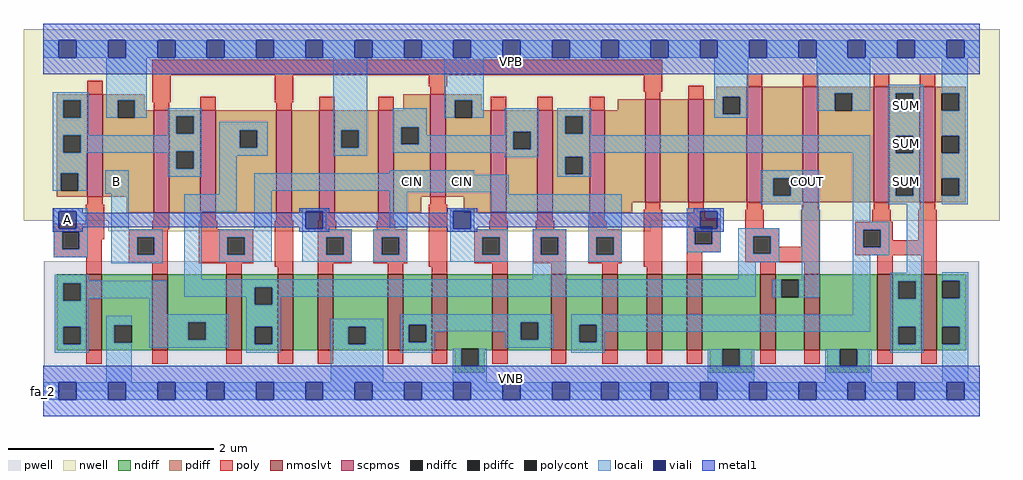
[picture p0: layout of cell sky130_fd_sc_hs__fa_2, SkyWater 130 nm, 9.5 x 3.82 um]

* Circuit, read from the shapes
.subckt sky130_fd_sc_hs__fa_2 A B CIN VGND VNB VPB VPWR COUT SUM
XM1 VGND A n1 VNB sky130_fd_pr__nfet_01v8_lvt w=0.74 l=0.15
XM2 n1 B VGND VNB sky130_fd_pr__nfet_01v8_lvt w=0.74 l=0.15
XM3 n2 CIN n1 VNB sky130_fd_pr__nfet_01v8_lvt w=0.74 l=0.15
XM4 n3 B n2 VNB sky130_fd_pr__nfet_01v8_lvt w=0.74 l=0.15
XM5 VGND A n3 VNB sky130_fd_pr__nfet_01v8_lvt w=0.74 l=0.15
XM6 n4 CIN VGND VNB sky130_fd_pr__nfet_01v8_lvt w=0.74 l=0.15
XM7 VGND B n4 VNB sky130_fd_pr__nfet_01v8_lvt w=0.74 l=0.15
XM8 n4 A VGND VNB sky130_fd_pr__nfet_01v8_lvt w=0.74 l=0.15
XM9 n5 n2 n4 VNB sky130_fd_pr__nfet_01v8_lvt w=0.74 l=0.15
XM10 n6 CIN n5 VNB sky130_fd_pr__nfet_01v8_lvt w=0.74 l=0.15
XM11 n7 B n6 VNB sky130_fd_pr__nfet_01v8_lvt w=0.74 l=0.15
XM12 VGND A n7 VNB sky130_fd_pr__nfet_01v8_lvt w=0.74 l=0.15
XM13 COUT n2 VGND VNB sky130_fd_pr__nfet_01v8_lvt w=0.74 l=0.15 m=2
XM14 SUM n5 VGND VNB sky130_fd_pr__nfet_01v8_lvt w=0.74 l=0.15 m=2
XM15 VPWR A n8 VPB sky130_fd_pr__pfet_01v8 w=1 l=0.15
XM16 n8 B VPWR VPB sky130_fd_pr__pfet_01v8 w=1 l=0.15
XM17 n2 CIN n8 VPB sky130_fd_pr__pfet_01v8 w=1 l=0.15
XM18 n9 B n2 VPB sky130_fd_pr__pfet_01v8 w=1 l=0.15
XM19 VPWR A n9 VPB sky130_fd_pr__pfet_01v8 w=1 l=0.15
XM20 n10 CIN VPWR VPB sky130_fd_pr__pfet_01v8 w=1 l=0.15
XM21 VPWR B n10 VPB sky130_fd_pr__pfet_01v8 w=1 l=0.15
XM22 n10 A VPWR VPB sky130_fd_pr__pfet_01v8 w=1 l=0.15
XM23 n5 n2 n10 VPB sky130_fd_pr__pfet_01v8 w=1 l=0.15
XM24 n11 CIN n5 VPB sky130_fd_pr__pfet_01v8 w=1 l=0.15
XM25 n12 B n11 VPB sky130_fd_pr__pfet_01v8 w=1 l=0.15
XM26 VPWR A n12 VPB sky130_fd_pr__pfet_01v8 w=1 l=0.15
XM27 COUT n2 VPWR VPB sky130_fd_pr__pfet_01v8 w=1.12 l=0.15 m=2
XM28 SUM n5 VPWR VPB sky130_fd_pr__pfet_01v8 w=1.12 l=0.15 m=2
.ends

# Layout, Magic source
magic
tech sky130A
magscale 1 2
<< nwell >>
rect -38 332 1862 704
rect 127 311 1183 332
<< pwell >>
rect 1 49 1823 253
rect 0 0 1824 49
<< scpmos >>
rect 86 378 116 578
rect 216 347 246 547
rect 306 347 336 547
rect 454 347 484 547
rect 538 347 568 547
rect 653 347 683 547
rect 754 378 784 578
rect 872 347 902 547
rect 962 347 992 547
rect 1064 347 1094 547
rect 1172 368 1202 568
rect 1256 368 1286 568
rect 1370 368 1400 592
rect 1479 368 1509 592
rect 1617 368 1647 592
rect 1707 368 1737 592
<< nmoslvt >>
rect 84 79 114 227
rect 213 79 243 227
rect 357 79 387 227
rect 457 79 487 227
rect 535 79 565 227
rect 671 79 701 227
rect 757 79 787 227
rect 875 79 905 227
rect 989 79 1019 227
rect 1089 79 1119 227
rect 1175 79 1205 227
rect 1253 79 1283 227
rect 1396 79 1426 227
rect 1482 79 1512 227
rect 1624 79 1654 227
rect 1710 79 1740 227
<< ndiff >>
rect 27 210 84 227
rect 27 176 39 210
rect 73 176 84 210
rect 27 125 84 176
rect 27 91 39 125
rect 73 91 84 125
rect 27 79 84 91
rect 114 128 213 227
rect 114 94 139 128
rect 173 94 213 128
rect 114 79 213 94
rect 243 134 357 227
rect 243 100 283 134
rect 317 100 357 134
rect 243 79 357 100
rect 387 202 457 227
rect 387 168 412 202
rect 446 168 457 202
rect 387 125 457 168
rect 387 91 412 125
rect 446 91 457 125
rect 387 79 457 91
rect 487 79 535 227
rect 565 125 671 227
rect 565 91 594 125
rect 628 91 671 125
rect 565 79 671 91
rect 701 129 757 227
rect 701 95 712 129
rect 746 95 757 129
rect 701 79 757 95
rect 787 82 875 227
rect 787 79 814 82
rect 802 48 814 79
rect 848 79 875 82
rect 905 134 989 227
rect 905 100 930 134
rect 964 100 989 134
rect 905 79 989 100
rect 1019 129 1089 227
rect 1019 95 1044 129
rect 1078 95 1089 129
rect 1019 79 1089 95
rect 1119 79 1175 227
rect 1205 79 1253 227
rect 1283 81 1396 227
rect 1283 79 1322 81
rect 848 48 860 79
rect 802 36 860 48
rect 1298 47 1322 79
rect 1356 79 1396 81
rect 1426 217 1482 227
rect 1426 183 1437 217
rect 1471 183 1482 217
rect 1426 79 1482 183
rect 1512 81 1624 227
rect 1512 79 1551 81
rect 1356 47 1381 79
rect 1298 36 1381 47
rect 1527 47 1551 79
rect 1585 79 1624 81
rect 1654 214 1710 227
rect 1654 180 1665 214
rect 1699 180 1710 214
rect 1654 125 1710 180
rect 1654 91 1665 125
rect 1699 91 1710 125
rect 1654 79 1710 91
rect 1740 215 1797 227
rect 1740 181 1751 215
rect 1785 181 1797 215
rect 1740 125 1797 181
rect 1740 91 1751 125
rect 1785 91 1797 125
rect 1740 79 1797 91
rect 1585 47 1609 79
rect 1527 36 1609 47
<< pdiff >>
rect 27 566 86 578
rect 27 532 39 566
rect 73 532 86 566
rect 27 498 86 532
rect 27 464 39 498
rect 73 464 86 498
rect 27 424 86 464
rect 27 390 35 424
rect 69 390 86 424
rect 27 378 86 390
rect 116 566 198 578
rect 116 532 145 566
rect 179 547 198 566
rect 701 547 754 578
rect 179 532 216 547
rect 116 378 216 532
rect 163 347 216 378
rect 246 535 306 547
rect 246 501 259 535
rect 293 501 306 535
rect 246 467 306 501
rect 246 433 259 467
rect 293 433 306 467
rect 246 347 306 433
rect 336 508 454 547
rect 336 474 383 508
rect 417 474 454 508
rect 336 347 454 474
rect 484 347 538 547
rect 568 508 653 547
rect 568 474 581 508
rect 615 474 653 508
rect 568 347 653 474
rect 683 514 754 547
rect 683 480 697 514
rect 731 480 754 514
rect 683 378 754 480
rect 784 566 854 578
rect 784 532 802 566
rect 836 547 854 566
rect 1311 573 1370 592
rect 1311 568 1323 573
rect 1119 547 1172 568
rect 836 532 872 547
rect 784 378 872 532
rect 683 347 736 378
rect 819 347 872 378
rect 902 505 962 547
rect 902 471 915 505
rect 949 471 962 505
rect 902 347 962 471
rect 992 535 1064 547
rect 992 501 1017 535
rect 1051 501 1064 535
rect 992 456 1064 501
rect 992 422 1017 456
rect 1051 422 1064 456
rect 992 347 1064 422
rect 1094 368 1172 547
rect 1202 368 1256 568
rect 1286 539 1323 568
rect 1357 539 1370 573
rect 1286 368 1370 539
rect 1400 414 1479 592
rect 1400 380 1422 414
rect 1456 380 1479 414
rect 1400 368 1479 380
rect 1509 580 1617 592
rect 1509 546 1541 580
rect 1575 546 1617 580
rect 1509 368 1617 546
rect 1647 580 1707 592
rect 1647 546 1660 580
rect 1694 546 1707 580
rect 1647 497 1707 546
rect 1647 463 1660 497
rect 1694 463 1707 497
rect 1647 414 1707 463
rect 1647 380 1660 414
rect 1694 380 1707 414
rect 1647 368 1707 380
rect 1737 580 1796 592
rect 1737 546 1750 580
rect 1784 546 1796 580
rect 1737 497 1796 546
rect 1737 463 1750 497
rect 1784 463 1796 497
rect 1737 414 1796 463
rect 1737 380 1750 414
rect 1784 380 1796 414
rect 1737 368 1796 380
rect 1094 347 1147 368
<< ndiffc >>
rect 39 176 73 210
rect 39 91 73 125
rect 139 94 173 128
rect 283 100 317 134
rect 412 168 446 202
rect 412 91 446 125
rect 594 91 628 125
rect 712 95 746 129
rect 814 48 848 82
rect 930 100 964 134
rect 1044 95 1078 129
rect 1322 47 1356 81
rect 1437 183 1471 217
rect 1551 47 1585 81
rect 1665 180 1699 214
rect 1665 91 1699 125
rect 1751 181 1785 215
rect 1751 91 1785 125
<< pdiffc >>
rect 39 532 73 566
rect 39 464 73 498
rect 35 390 69 424
rect 145 532 179 566
rect 259 501 293 535
rect 259 433 293 467
rect 383 474 417 508
rect 581 474 615 508
rect 697 480 731 514
rect 802 532 836 566
rect 915 471 949 505
rect 1017 501 1051 535
rect 1017 422 1051 456
rect 1323 539 1357 573
rect 1422 380 1456 414
rect 1541 546 1575 580
rect 1660 546 1694 580
rect 1660 463 1694 497
rect 1660 380 1694 414
rect 1750 546 1784 580
rect 1750 463 1784 497
rect 1750 380 1784 414
<< poly >>
rect 213 615 1205 645
rect 86 578 116 604
rect 213 562 249 615
rect 216 547 246 562
rect 306 547 336 573
rect 451 562 487 615
rect 751 593 787 615
rect 754 578 784 593
rect 1169 583 1205 615
rect 454 547 484 562
rect 538 547 568 573
rect 653 547 683 573
rect 86 363 116 378
rect 83 326 119 363
rect 872 547 902 573
rect 962 547 992 573
rect 1064 547 1094 573
rect 1172 568 1202 583
rect 1256 568 1286 594
rect 1370 592 1400 618
rect 1479 592 1509 618
rect 1617 592 1647 618
rect 1707 592 1737 618
rect 754 363 784 378
rect 216 332 246 347
rect 306 332 336 347
rect 454 332 484 347
rect 538 332 568 347
rect 653 332 683 347
rect 21 310 119 326
rect 213 315 246 332
rect 303 315 339 332
rect 21 276 37 310
rect 71 296 119 310
rect 167 299 243 315
rect 71 276 114 296
rect 21 260 114 276
rect 84 227 114 260
rect 167 265 183 299
rect 217 265 243 299
rect 167 249 243 265
rect 303 299 409 315
rect 303 265 359 299
rect 393 265 409 299
rect 303 249 409 265
rect 213 227 243 249
rect 357 227 387 249
rect 451 242 487 332
rect 457 227 487 242
rect 535 315 571 332
rect 650 315 686 332
rect 535 299 601 315
rect 535 265 551 299
rect 585 265 601 299
rect 535 249 601 265
rect 643 299 709 315
rect 643 265 659 299
rect 693 265 709 299
rect 643 249 709 265
rect 535 227 565 249
rect 671 227 701 249
rect 751 242 787 363
rect 1172 353 1202 368
rect 1256 353 1286 368
rect 1370 353 1400 368
rect 1479 353 1509 368
rect 1617 353 1647 368
rect 1707 353 1737 368
rect 872 332 902 347
rect 962 332 992 347
rect 1064 332 1094 347
rect 869 315 905 332
rect 959 315 995 332
rect 1061 315 1097 332
rect 839 299 905 315
rect 839 265 855 299
rect 889 265 905 299
rect 839 249 905 265
rect 953 299 1019 315
rect 953 265 969 299
rect 1003 265 1019 299
rect 953 249 1019 265
rect 1061 299 1127 315
rect 1061 265 1077 299
rect 1111 265 1127 299
rect 1061 249 1127 265
rect 757 227 787 242
rect 875 227 905 249
rect 989 227 1019 249
rect 1089 227 1119 249
rect 1169 242 1205 353
rect 1175 227 1205 242
rect 1253 336 1289 353
rect 1253 320 1319 336
rect 1253 286 1269 320
rect 1303 286 1319 320
rect 1253 270 1319 286
rect 1367 317 1403 353
rect 1367 301 1433 317
rect 1253 227 1283 270
rect 1367 267 1383 301
rect 1417 281 1433 301
rect 1476 281 1512 353
rect 1614 330 1650 353
rect 1417 267 1512 281
rect 1367 251 1512 267
rect 1581 314 1654 330
rect 1581 280 1597 314
rect 1631 294 1654 314
rect 1704 294 1740 353
rect 1631 280 1740 294
rect 1581 264 1740 280
rect 1396 227 1426 251
rect 1482 227 1512 251
rect 1624 227 1654 264
rect 1710 227 1740 264
rect 84 53 114 79
rect 213 53 243 79
rect 357 53 387 79
rect 457 53 487 79
rect 535 53 565 79
rect 671 53 701 79
rect 757 53 787 79
rect 875 53 905 79
rect 989 53 1019 79
rect 1089 53 1119 79
rect 1175 53 1205 79
rect 1253 53 1283 79
rect 1396 53 1426 79
rect 1482 53 1512 79
rect 1624 53 1654 79
rect 1710 53 1740 79
<< polycont >>
rect 37 276 71 310
rect 183 265 217 299
rect 359 265 393 299
rect 551 265 585 299
rect 659 265 693 299
rect 855 265 889 299
rect 969 265 1003 299
rect 1077 265 1111 299
rect 1269 286 1303 320
rect 1383 267 1417 301
rect 1597 280 1631 314
<< locali >>
rect 0 649 31 683
rect 65 649 127 683
rect 161 649 223 683
rect 257 649 319 683
rect 353 649 415 683
rect 449 649 511 683
rect 545 649 607 683
rect 641 649 703 683
rect 737 649 799 683
rect 833 649 895 683
rect 929 649 991 683
rect 1025 649 1087 683
rect 1121 649 1183 683
rect 1217 649 1279 683
rect 1313 649 1375 683
rect 1409 649 1471 683
rect 1505 649 1567 683
rect 1601 649 1663 683
rect 1697 649 1759 683
rect 1793 649 1824 683
rect 19 566 89 582
rect 19 532 39 566
rect 73 532 89 566
rect 123 566 202 649
rect 123 532 145 566
rect 179 532 202 566
rect 243 535 309 551
rect 19 498 89 532
rect 243 501 259 535
rect 293 501 309 535
rect 243 498 309 501
rect 19 464 39 498
rect 73 467 309 498
rect 73 464 259 467
rect 19 424 85 464
rect 243 433 259 464
rect 293 433 309 467
rect 19 390 35 424
rect 69 390 85 424
rect 121 384 167 430
rect 243 417 309 433
rect 343 508 437 524
rect 343 474 383 508
rect 417 474 437 508
rect 343 458 437 474
rect 565 508 631 649
rect 781 566 858 649
rect 565 474 581 508
rect 615 474 631 508
rect 565 458 631 474
rect 681 514 747 551
rect 781 532 802 566
rect 836 532 858 566
rect 1307 573 1373 649
rect 681 480 697 514
rect 731 498 747 514
rect 899 505 965 551
rect 899 498 915 505
rect 731 480 915 498
rect 681 471 915 480
rect 949 471 965 505
rect 681 464 965 471
rect 21 350 87 356
rect 21 316 31 350
rect 65 316 87 350
rect 21 310 87 316
rect 21 276 37 310
rect 71 276 87 310
rect 21 260 87 276
rect 133 315 167 384
rect 343 383 377 458
rect 899 455 965 464
rect 1001 535 1067 551
rect 1001 501 1017 535
rect 1051 501 1067 535
rect 1307 539 1323 573
rect 1357 539 1373 573
rect 1506 580 1610 649
rect 1506 546 1541 580
rect 1575 546 1610 580
rect 1644 580 1715 596
rect 1644 546 1660 580
rect 1694 546 1715 580
rect 1307 532 1373 539
rect 1001 498 1067 501
rect 1001 464 1610 498
rect 1001 456 1067 464
rect 675 424 839 430
rect 275 349 377 383
rect 411 421 839 424
rect 1001 422 1017 456
rect 1051 422 1067 456
rect 411 390 907 421
rect 1001 417 1067 422
rect 133 299 233 315
rect 133 265 183 299
rect 217 265 233 299
rect 133 249 233 265
rect 23 215 89 226
rect 275 218 309 349
rect 411 315 445 390
rect 675 387 907 390
rect 343 299 445 315
rect 343 265 359 299
rect 393 265 445 299
rect 343 252 445 265
rect 505 350 551 356
rect 505 316 511 350
rect 545 316 551 350
rect 505 315 551 316
rect 675 315 709 387
rect 873 383 907 387
rect 1397 414 1511 430
rect 505 299 601 315
rect 505 265 551 299
rect 585 265 601 299
rect 505 252 601 265
rect 643 299 709 315
rect 643 265 659 299
rect 693 265 709 299
rect 643 252 709 265
rect 793 350 839 353
rect 793 316 799 350
rect 833 316 839 350
rect 873 349 1127 383
rect 1397 380 1422 414
rect 1456 380 1511 414
rect 1397 364 1511 380
rect 793 315 839 316
rect 793 299 905 315
rect 793 265 855 299
rect 889 265 905 299
rect 793 252 905 265
rect 953 299 1019 315
rect 953 265 969 299
rect 1003 265 1019 299
rect 953 218 1019 265
rect 1061 299 1127 349
rect 1061 265 1077 299
rect 1111 265 1127 299
rect 1253 350 1319 356
rect 1253 320 1279 350
rect 1253 286 1269 320
rect 1313 316 1319 350
rect 1303 286 1319 316
rect 1253 270 1319 286
rect 1353 301 1433 317
rect 1061 252 1127 265
rect 1353 267 1383 301
rect 1417 267 1433 301
rect 1353 251 1433 267
rect 1353 218 1387 251
rect 23 210 241 215
rect 23 176 39 210
rect 73 181 241 210
rect 275 202 1387 218
rect 1477 217 1511 364
rect 275 184 412 202
rect 73 176 89 181
rect 23 125 89 176
rect 207 150 241 181
rect 396 168 412 184
rect 446 184 1387 202
rect 446 168 462 184
rect 1421 183 1437 217
rect 1471 183 1511 217
rect 1576 330 1610 464
rect 1644 497 1715 546
rect 1644 463 1660 497
rect 1694 463 1715 497
rect 1644 414 1715 463
rect 1644 380 1660 414
rect 1694 380 1715 414
rect 1644 364 1715 380
rect 1750 580 1800 649
rect 1784 546 1800 580
rect 1750 497 1800 546
rect 1784 463 1800 497
rect 1750 414 1800 463
rect 1784 380 1800 414
rect 1750 364 1800 380
rect 1576 314 1647 330
rect 1576 280 1597 314
rect 1631 280 1647 314
rect 1576 264 1647 280
rect 23 91 39 125
rect 73 91 89 125
rect 23 75 89 91
rect 123 128 173 147
rect 123 94 139 128
rect 123 17 173 94
rect 207 134 362 150
rect 207 100 283 134
rect 317 100 362 134
rect 207 84 362 100
rect 396 125 462 168
rect 396 91 412 125
rect 446 91 462 125
rect 396 75 462 91
rect 560 125 662 141
rect 560 91 594 125
rect 628 91 662 125
rect 560 17 662 91
rect 696 134 994 150
rect 696 129 930 134
rect 696 95 712 129
rect 746 116 930 129
rect 746 95 762 116
rect 696 75 762 95
rect 900 100 930 116
rect 964 100 994 134
rect 900 84 994 100
rect 1028 149 1094 150
rect 1576 149 1610 264
rect 1681 230 1715 364
rect 1028 129 1610 149
rect 1028 95 1044 129
rect 1078 115 1610 129
rect 1649 214 1715 230
rect 1649 180 1665 214
rect 1699 180 1715 214
rect 1649 125 1715 180
rect 1078 95 1094 115
rect 798 48 814 82
rect 848 48 864 82
rect 1028 75 1094 95
rect 1649 91 1665 125
rect 1699 91 1715 125
rect 798 17 864 48
rect 1294 47 1322 81
rect 1356 47 1385 81
rect 1294 17 1385 47
rect 1523 47 1551 81
rect 1585 47 1613 81
rect 1649 75 1715 91
rect 1751 215 1801 231
rect 1785 181 1801 215
rect 1751 125 1801 181
rect 1785 91 1801 125
rect 1523 17 1613 47
rect 1751 17 1801 91
rect 0 -17 31 17
rect 65 -17 127 17
rect 161 -17 223 17
rect 257 -17 319 17
rect 353 -17 415 17
rect 449 -17 511 17
rect 545 -17 607 17
rect 641 -17 703 17
rect 737 -17 799 17
rect 833 -17 895 17
rect 929 -17 991 17
rect 1025 -17 1087 17
rect 1121 -17 1183 17
rect 1217 -17 1279 17
rect 1313 -17 1375 17
rect 1409 -17 1471 17
rect 1505 -17 1567 17
rect 1601 -17 1663 17
rect 1697 -17 1759 17
rect 1793 -17 1824 17
<< viali >>
rect 31 649 65 683
rect 127 649 161 683
rect 223 649 257 683
rect 319 649 353 683
rect 415 649 449 683
rect 511 649 545 683
rect 607 649 641 683
rect 703 649 737 683
rect 799 649 833 683
rect 895 649 929 683
rect 991 649 1025 683
rect 1087 649 1121 683
rect 1183 649 1217 683
rect 1279 649 1313 683
rect 1375 649 1409 683
rect 1471 649 1505 683
rect 1567 649 1601 683
rect 1663 649 1697 683
rect 1759 649 1793 683
rect 31 316 65 350
rect 511 316 545 350
rect 799 316 833 350
rect 1279 320 1313 350
rect 1279 316 1303 320
rect 1303 316 1313 320
rect 31 -17 65 17
rect 127 -17 161 17
rect 223 -17 257 17
rect 319 -17 353 17
rect 415 -17 449 17
rect 511 -17 545 17
rect 607 -17 641 17
rect 703 -17 737 17
rect 799 -17 833 17
rect 895 -17 929 17
rect 991 -17 1025 17
rect 1087 -17 1121 17
rect 1183 -17 1217 17
rect 1279 -17 1313 17
rect 1375 -17 1409 17
rect 1471 -17 1505 17
rect 1567 -17 1601 17
rect 1663 -17 1697 17
rect 1759 -17 1793 17
<< metal1 >>
rect 0 683 1824 715
rect 0 649 31 683
rect 65 649 127 683
rect 161 649 223 683
rect 257 649 319 683
rect 353 649 415 683
rect 449 649 511 683
rect 545 649 607 683
rect 641 649 703 683
rect 737 649 799 683
rect 833 649 895 683
rect 929 649 991 683
rect 1025 649 1087 683
rect 1121 649 1183 683
rect 1217 649 1279 683
rect 1313 649 1375 683
rect 1409 649 1471 683
rect 1505 649 1567 683
rect 1601 649 1663 683
rect 1697 649 1759 683
rect 1793 649 1824 683
rect 0 617 1824 649
rect 19 350 77 356
rect 19 316 31 350
rect 65 347 77 350
rect 499 350 557 356
rect 499 347 511 350
rect 65 319 511 347
rect 65 316 77 319
rect 19 310 77 316
rect 499 316 511 319
rect 545 347 557 350
rect 787 350 845 356
rect 787 347 799 350
rect 545 319 799 347
rect 545 316 557 319
rect 499 310 557 316
rect 787 316 799 319
rect 833 347 845 350
rect 1267 350 1325 356
rect 1267 347 1279 350
rect 833 319 1279 347
rect 833 316 845 319
rect 787 310 845 316
rect 1267 316 1279 319
rect 1313 316 1325 350
rect 1267 310 1325 316
rect 0 17 1824 49
rect 0 -17 31 17
rect 65 -17 127 17
rect 161 -17 223 17
rect 257 -17 319 17
rect 353 -17 415 17
rect 449 -17 511 17
rect 545 -17 607 17
rect 641 -17 703 17
rect 737 -17 799 17
rect 833 -17 895 17
rect 929 -17 991 17
rect 1025 -17 1087 17
rect 1121 -17 1183 17
rect 1217 -17 1279 17
rect 1313 -17 1375 17
rect 1409 -17 1471 17
rect 1505 -17 1567 17
rect 1601 -17 1663 17
rect 1697 -17 1759 17
rect 1793 -17 1824 17
rect 0 -49 1824 -17
<< labels >>
rlabel comment s 0 0 0 0 4 fa_2
flabel pwell s 0 0 1824 49 0 FreeSans 200 0 0 0 VNB
port 5 nsew ground bidirectional
flabel nwell s 0 617 1824 666 0 FreeSans 200 0 0 0 VPB
port 6 nsew power bidirectional
flabel metal1 s 31 316 65 350 0 FreeSans 340 0 0 0 A
port 1 nsew signal input
flabel metal1 s 0 617 1824 666 0 FreeSans 340 0 0 0 VPWR
port 7 nsew power bidirectional
flabel metal1 s 0 0 1824 49 0 FreeSans 340 0 0 0 VGND
port 4 nsew ground bidirectional
flabel locali s 703 390 737 424 0 FreeSans 340 0 0 0 CIN
port 3 nsew signal input
flabel locali s 799 390 833 424 0 FreeSans 340 0 0 0 CIN
port 3 nsew signal input
flabel locali s 127 390 161 424 0 FreeSans 340 0 0 0 B
port 2 nsew signal input
flabel locali s 1471 390 1505 424 0 FreeSans 340 0 0 0 COUT
port 8 nsew signal output
flabel locali s 1663 390 1697 424 0 FreeSans 340 0 0 0 SUM
port 9 nsew signal output
flabel locali s 1663 464 1697 498 0 FreeSans 340 0 0 0 SUM
port 9 nsew signal output
flabel locali s 1663 538 1697 572 0 FreeSans 340 0 0 0 SUM
port 9 nsew signal output
<< properties >>
string LEFsite unit
string LEFclass CORE
string FIXED_BBOX 0 0 1824 666
string GDS_FILE $PDKPATH/libs.ref/sky130_fd_sc_hs/gds/sky130_fd_sc_hs.gds
string LEFsymmetry X Y
string GDS_END 1499840
string GDS_START 1486426
<< end >>
